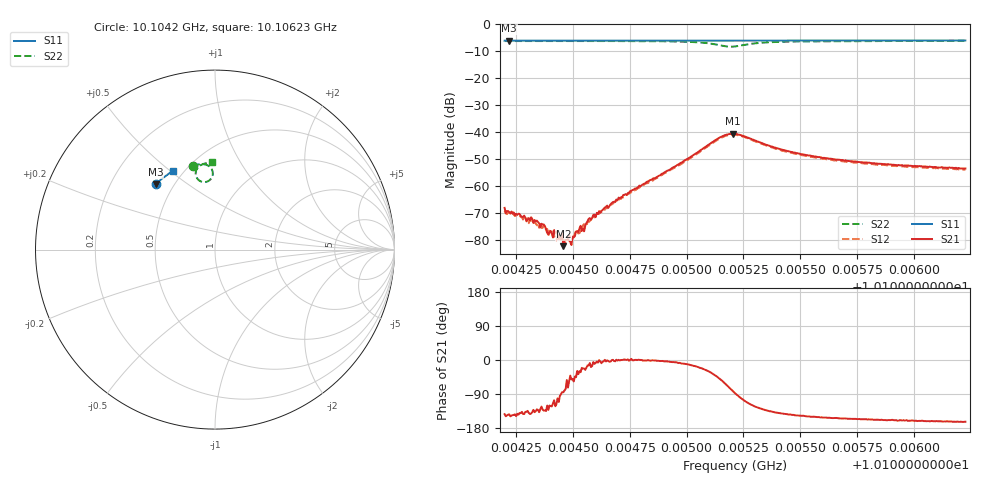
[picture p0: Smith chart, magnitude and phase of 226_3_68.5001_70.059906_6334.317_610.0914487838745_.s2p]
#  HZ  S  RI  R  50.00
! Rohde & Schwarz Vector Network Analyzer
! Rohde-Schwarz,ZNB20-2Port,1311601062101988,3.16
! Created: UTC 3/20/2024, 5:13:52 PM
! freq[Hz]  re:S11  im:S11  re:S21  im:S21  re:S12  im:S12  re:S22  im:S22
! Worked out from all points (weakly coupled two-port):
!   401 points, 10.1042 GHz to 10.10623 GHz, reference 50 ohm
!   highest |S21| = -40.65 dB at 10.1052 GHz (marker M1); lowest = -82.3 dB at 10.10446 GHz (marker M2)
!   lowest |S11| = -6.2 dB at 10.10422 GHz (marker M3), VSWR 2.93, Z = 20 + j19.2 ohm
!   |S11| at or under -10 dB: nowhere
!   |S22| runs from -8.4 to -6.2 dB; largest |S21 - S12| = 0.00099
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1.01042e10  -0.3306 0.3635  -0.000315 -0.000237  -0.000276 -0.000213  -0.1244 0.4673
1.0104221e10  -0.3295 0.3644  -0.000264 -0.000198  -0.00024 -0.000219  -0.1229 0.4677
1.0104322e10  -0.3251 0.3687  -0.00018 -0.000167  -0.000158 -0.000182  -0.1155 0.4697
1.0104342e10  -0.3242 0.3697  -0.000148 -0.000174  -0.000106 -0.000154  -0.114 0.4702
1.0104372e10  -0.3229 0.3708  -0.000133 -0.00014  -0.000109 -0.000155  -0.1118 0.4708
1.0104403e10  -0.3215 0.3722  -7.74e-05 -0.000126  -6.92e-05 -0.00012  -0.1094 0.4712
1.0104433e10  -0.3202 0.3735  -2.47e-05 -0.000125  2.45e-06 -0.000114  -0.107 0.4719
1.0104459e10  -0.3192 0.3745  6.56e-06 -7.66e-05  2.27e-05 -8.89e-05  -0.105 0.4723
1.0104469e10  -0.3186 0.375  2.38e-05 -9.75e-05  3.79e-05 -8.75e-05  -0.1042 0.4724
1.0104494e10  -0.3175 0.3758  5.05e-05 -6.31e-05  7.27e-05 -0.0001  -0.1021 0.473
1.0104524e10  -0.3161 0.3773  0.000112 -8.52e-05  0.000104 -8.07e-05  -0.0997 0.4733
1.010454e10  -0.3154 0.3778  0.000137 -5.16e-05  0.000147 -3.49e-05  -0.0983 0.4736
1.010458e10  -0.3137 0.3795  0.000224 -7.48e-05  0.000239 -1.29e-05  -0.0948 0.4741
1.0104641e10  -0.3109 0.382  0.000399 3.2e-06  0.000364 1.24e-05  -0.0894 0.4752
1.0104879e10  -0.2999 0.3914  0.00155 -6.59e-05  0.00149 6.46e-05  -0.0615 0.4756
1.0105142e10  -0.287 0.4011  0.00519 -0.00572  0.00551 -0.00497  -0.0151 0.4075
1.0105203e10  -0.2843 0.4029  0.00136 -0.00918  0.00219 -0.00868  -0.062 0.376
1.0105213e10  -0.2838 0.4033  0.000374 -0.00922  0.00128 -0.00883  -0.0721 0.3776
1.0105405e10  -0.275 0.4107  -0.00375 -0.00317  -0.00332 -0.00336  -0.0953 0.4574
1.0105552e10  -0.2677 0.4159  -0.0031 -0.00178  -0.00282 -0.00199  -0.0755 0.4724
1.0105891e10  -0.2506 0.4275  -0.00233 -0.00092  -0.00216 -0.00104  -0.0434 0.4831
1.0106225e10  -0.2335 0.4381  -0.00202 -0.000622  -0.00185 -0.000751  -0.018 0.4868
